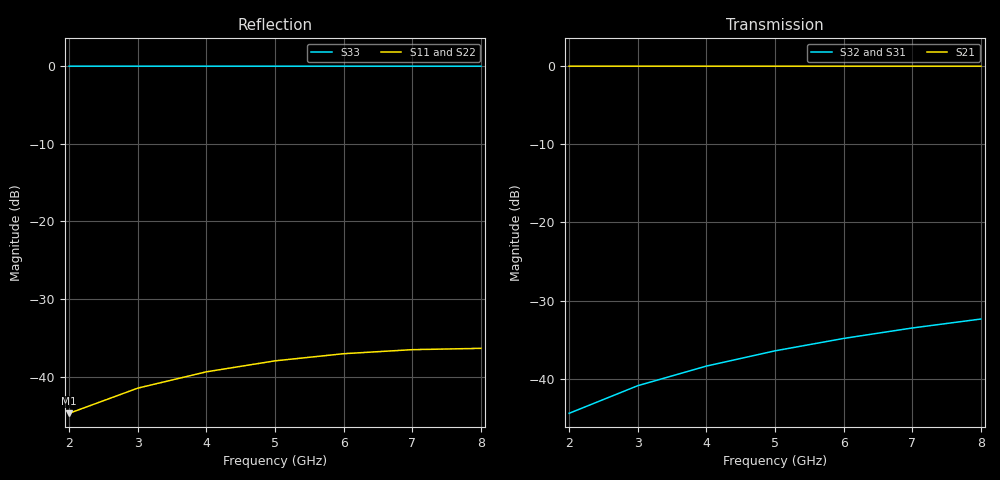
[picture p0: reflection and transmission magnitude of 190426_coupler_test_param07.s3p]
! Sonnet Data File
! From: emgraph Version : 16.56
! From Project: 190426_coupler_test
! Data is De-embedded
! Data File Written: 05/06/2019 15:59:44
!< HDATE 04/25/2019 10:48:44
!< MDATE 04/25/2019 10:59:35
!< PARAMS
!< tandelta = 0.0
!< t_aSi = 0.25
!< W = 10.0
!< Lcoupler = 600.0
!< END PARAMS
# GHZ S MA R 50.0 !  non standard terminations in data
! TERM 50.00000 0.000000 50.00000 0.000000 63.84000 0.000000
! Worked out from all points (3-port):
!   7 points, 2 GHz to 8 GHz, reference 50 ohm
!   strongest paths, dB at 2 GHz, 3 GHz, 5 GHz, 7 GHz, 8 GHz:
!     S21: 0.0, 0.0, 0.0, 0.0, 0.0
!     S32: -44.4, -40.9, -36.4, -33.5, -32.4
!     S31: -44.4, -40.9, -36.5, -33.6, -32.5
!   lowest |S11| = -44.7 dB at 2 GHz (marker M1), VSWR 1.01, Z = 50.2 + j0.533 ohm
!   |S11| at or under -10 dB: start of sweep to end of sweep
2  0.005819 65.8  1 -21.6  0.005995 63.1
   1 -21.6  0.005807 71.2  0.006006 85.3
   0.005995 63.1  0.006006 85.3  1 -10.2
3  0.008452 53.6  0.9999 -32.5  0.008985 49.6
   0.9999 -32.5  0.008413 61.9  0.009022 82.9
   0.008985 49.6  0.009022 82.9  0.9999 -15.4
4  0.01076 41.4  0.9999 -43.3  0.01197 36.2
   0.9999 -43.3  0.01067 52.6  0.01205 80.5
   0.01197 36.2  0.01205 80.5  0.9999 -20.5
5  0.01267 29.0  0.9998 -54.1  0.01494 22.7
   0.9998 -54.1  0.0125 43.4  0.01508 78.0
   0.01494 22.7  0.01508 78.0  0.9998 -25.6
6  0.01408 16.4  0.9997 -65.0  0.01789 9.3
   0.9997 -65.0  0.01381 34.4  0.0181 75.5
   0.01789 9.3  0.0181 75.5  0.9997 -30.8
7  0.01495 3.6  0.9997 -75.8  0.02083 -4.2
   0.9997 -75.8  0.01455 25.6  0.02112 72.9
   0.02083 -4.2  0.02112 72.9  0.9996 -35.9
8  0.01524 -9.7  0.9996 -86.6  0.02375 -17.6
   0.9996 -86.6  0.01469 17.0  0.0241 70.3
   0.02375 -17.6  0.0241 70.3  0.9994 -41.0
